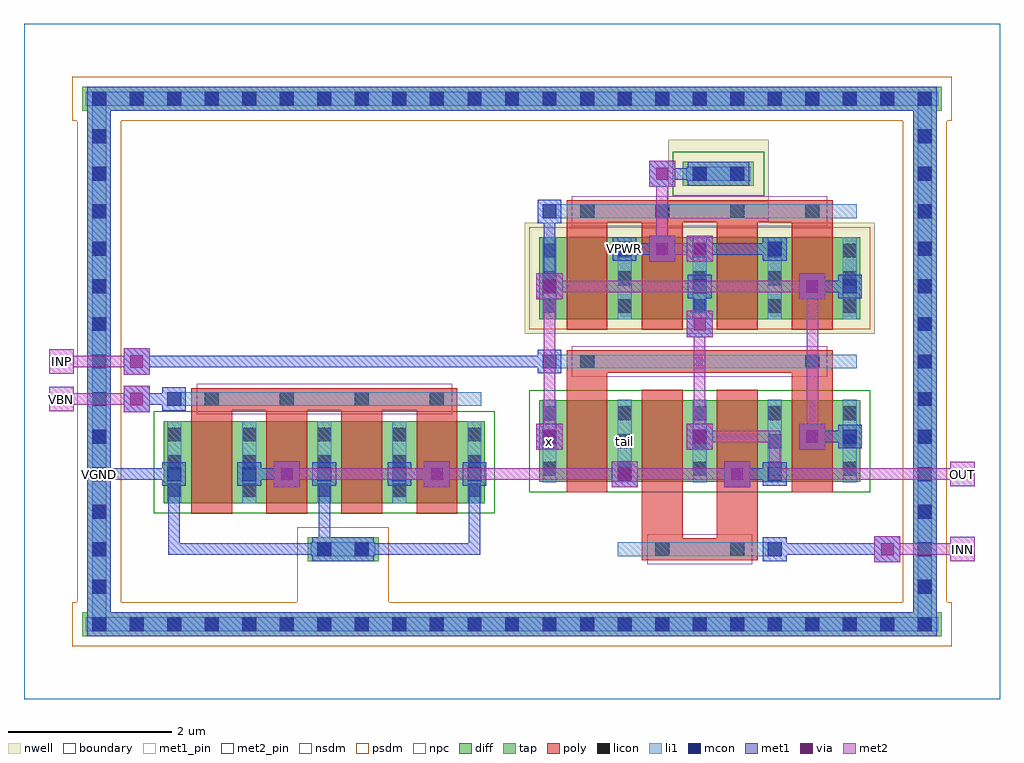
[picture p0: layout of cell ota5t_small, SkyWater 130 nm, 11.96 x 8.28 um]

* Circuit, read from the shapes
.subckt ota5t_small INN INP OUT VBN VGND VPWR tail x
XM1 tail VBN VGND VGND sky130_fd_pr__nfet_01v8 w=1 l=0.5 m=4
XM2 tail INP x VGND sky130_fd_pr__nfet_01v8 w=1 l=0.5 m=2
XM3 OUT INN tail VGND sky130_fd_pr__nfet_01v8 w=1 l=0.5 m=2
XM4 VPWR x x VPWR sky130_fd_pr__pfet_01v8 w=1 l=0.5 m=2
XM5 OUT x VPWR VPWR sky130_fd_pr__pfet_01v8 w=1 l=0.5 m=2
.ends

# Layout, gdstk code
import gdstk
lib = gdstk.Library(unit=1e-6, precision=1e-09)
def R(c, l, rs):  # rectangles x0, y0, x1, y1
    for r in rs: c.add(gdstk.rectangle(r[:2], r[2:], *l))
def A(c, l, x, y, w, h, nx, ny, dx, dy):  # array of equal rectangles
    R(c, l, [(x+i*dx, y+j*dy, x+i*dx+w, y+j*dy+h) for i in range(nx) for j in range(ny)])
nwell = (64, 20)
diff = (65, 20)
tap = (65, 44)
poly = (66, 20)
licon = (66, 44)
li1 = (67, 20)
mcon = (67, 44)
met1_pin = (68, 16)
met1 = (68, 20)
via = (68, 44)
met2_pin = (69, 16)
met2 = (69, 20)
nsdm = (93, 44)
psdm = (94, 20)
npc = (95, 20)
boundary = (235, 4)

ota5t_small = lib.new_cell('ota5t_small')
R(ota5t_small, nwell, [(6.135,4.48,10.425,5.84), (7.895,5.84,9.125,6.86)])
R(ota5t_small, diff, [(1.715,2.405,5.645,3.405), (6.315,2.665,10.245,3.665), (6.315,4.66,10.245,5.66)])
R(ota5t_small, tap, [(0.715,0.775,11.245,1.065), (0.775,0.775,1.065,7.505), (10.895,0.775,11.185,7.505), (3.475,1.695,4.345,1.985), (8.075,6.295,8.945,6.585), (0.715,7.215,11.245,7.505)])
A(ota5t_small, poly, 2.05, 2.275, 0.5, 1.405, 4, 1, 0.92, 0)
A(ota5t_small, poly, 6.65, 4.53, 0.5, 1.45, 4, 1, 0.92, 0)
R(ota5t_small, poly, [(7.57,1.705,8.99,1.975), (7.57,1.84,8.07,3.795), (8.49,1.84,8.99,3.795), (6.65,2.535,7.15,4.14), (9.41,2.535,9.91,4.14), (2.05,3.545,5.31,3.815), (6.65,4.005,9.91,4.275), (6.65,5.845,9.91,6.115)])
A(ota5t_small, licon, 0.835, 0.835, 0.17, 0.17, 23, 2, 0.46, 6.44)
A(ota5t_small, licon, 0.835, 1.295, 0.17, 0.17, 1, 13, 0, 0.46)
A(ota5t_small, licon, 10.955, 1.295, 0.17, 0.17, 1, 13, 0, 0.46)
A(ota5t_small, licon, 1.755, 2.48, 0.17, 0.17, 5, 3, 0.92, 0.34)
A(ota5t_small, licon, 6.355, 2.74, 0.17, 0.17, 5, 3, 0.92, 0.34)
A(ota5t_small, licon, 2.215, 3.595, 0.17, 0.17, 4, 1, 0.92, 0)
A(ota5t_small, licon, 6.355, 4.735, 0.17, 0.17, 5, 3, 0.92, 0.34)
A(ota5t_small, licon, 6.815, 5.895, 0.17, 0.17, 4, 1, 0.92, 0)
R(ota5t_small, licon, [(3.595,1.755,3.765,1.925), (4.055,1.755,4.225,1.925), (7.735,1.755,7.905,1.925), (8.655,1.755,8.825,1.925), (6.815,4.055,6.985,4.225), (9.575,4.055,9.745,4.225), (8.195,6.355,8.365,6.525), (8.655,6.355,8.825,6.525)])
A(ota5t_small, li1, 1.755, 2.4, 0.17, 1.01, 5, 1, 0.92, 0)
A(ota5t_small, li1, 6.355, 2.66, 0.17, 1.01, 5, 2, 0.92, 1.995)
R(ota5t_small, li1, [(0.755,0.835,11.205,1.005), (0.835,0.835,1.005,7.445), (10.955,0.835,11.125,7.445), (3.515,1.755,4.305,1.925), (7.275,1.755,9.285,1.925), (1.755,3.595,5.605,3.765), (6.355,4.055,10.205,4.225), (6.355,5.895,10.205,6.065), (8.115,6.355,8.905,6.525), (0.755,7.275,11.205,7.445)])
A(ota5t_small, mcon, 0.835, 0.835, 0.17, 0.17, 23, 2, 0.46, 6.44)
A(ota5t_small, mcon, 0.835, 1.295, 0.17, 0.17, 1, 3, 0, 0.46)
A(ota5t_small, mcon, 10.955, 1.295, 0.17, 0.17, 1, 3, 0, 0.46)
A(ota5t_small, mcon, 0.835, 2.675, 0.17, 0.17, 6, 1, 0.92, 0)
A(ota5t_small, mcon, 7.275, 2.675, 0.17, 0.17, 3, 2, 1.84, 2.76)
A(ota5t_small, mcon, 0.835, 3.135, 0.17, 0.17, 1, 9, 0, 0.46)
A(ota5t_small, mcon, 6.355, 3.135, 0.17, 0.17, 3, 2, 1.84, 1.84)
A(ota5t_small, mcon, 10.955, 3.135, 0.17, 0.17, 1, 5, 0, 0.46)
A(ota5t_small, mcon, 10.955, 5.895, 0.17, 0.17, 1, 3, 0, 0.46)
R(ota5t_small, mcon, [(3.595,1.755,3.765,1.925), (4.055,1.755,4.225,1.925), (9.115,1.755,9.285,1.925), (1.755,3.595,1.925,3.765), (6.355,4.055,6.525,4.225), (6.355,5.895,6.525,6.065), (8.195,6.355,8.365,6.525), (8.655,6.355,8.825,6.525)])
R(ota5t_small, met1_pin, [(0.85,2.69,0.99,2.83), (7.215,5.375,7.505,5.665)])
A(ota5t_small, met1, 1.77, 1.77, 0.14, 1.06, 3, 1, 1.84, 0)
A(ota5t_small, met1, 1.695, 2.615, 0.29, 0.29, 5, 1, 0.92, 0)
A(ota5t_small, met1, 6.295, 3.075, 0.29, 0.29, 3, 2, 1.84, 1.84)
R(ota5t_small, met1, [(0.775,0.775,11.185,1.065), (0.775,0.775,1.065,7.505), (10.895,0.775,11.185,7.505), (10.42,1.68,10.74,2), (3.535,1.695,4.285,1.985), (9.055,1.695,9.345,1.985), (1.77,1.77,3.75,1.91), (3.61,1.77,3.75,1.91), (3.61,1.77,5.59,1.91), (9.13,1.77,10.65,1.91), (3.06,2.6,3.38,2.92), (4.9,2.6,5.22,2.92), (7.2,2.6,7.52,2.92), (8.58,2.6,8.9,2.92), (7.215,2.615,7.505,2.905), (9.055,2.615,9.345,2.905), (0.85,2.69,0.99,2.83), (0.85,2.69,1.91,2.83), (0.85,2.69,0.99,7.43), (2.69,2.69,3.29,2.83), (4.53,2.69,5.13,2.83), (8.67,2.69,9.27,2.83), (6.28,3.06,6.6,3.38), (8.12,3.06,8.44,3.38), (9.5,3.06,9.82,3.38), (9.59,3.15,10.19,3.29), (1.22,3.52,1.54,3.84), (1.695,3.535,1.985,3.825), (1.31,3.61,1.91,3.75), (1.22,3.98,1.54,4.3), (6.295,3.995,6.585,4.285), (1.31,4.07,6.51,4.21), (8.12,4.44,8.44,4.76), (8.21,4.53,8.35,5.13), (6.28,4.9,6.6,5.22), (9.5,4.9,9.82,5.22), (6.37,4.99,6.51,6.05), (9.59,4.99,10.19,5.13), (7.66,5.36,7.98,5.68), (8.12,5.36,8.44,5.68), (7.215,5.375,7.505,5.665), (9.055,5.375,9.345,5.665), (7.29,5.45,7.89,5.59), (8.21,5.45,9.27,5.59), (6.295,5.835,6.585,6.125), (7.66,6.28,7.98,6.6), (8.135,6.295,8.885,6.585), (7.75,6.37,8.35,6.51), (8.21,6.37,8.35,6.51), (0.775,7.215,11.185,7.505), (0.85,7.29,0.99,7.43)])
R(ota5t_small, via, [(10.505,1.765,10.655,1.915), (3.145,2.685,3.295,2.835), (4.985,2.685,5.135,2.835), (7.285,2.685,7.435,2.835), (8.665,2.685,8.815,2.835), (6.365,3.145,6.515,3.295), (8.205,3.145,8.355,3.295), (9.585,3.145,9.735,3.295), (1.305,3.605,1.455,3.755), (1.305,4.065,1.455,4.215), (8.205,4.525,8.355,4.675), (6.365,4.985,6.515,5.135), (9.585,4.985,9.735,5.135), (7.745,5.445,7.895,5.595), (8.205,5.445,8.355,5.595), (7.745,6.365,7.895,6.515)])
R(ota5t_small, met2_pin, [(11.35,1.69,11.65,1.99), (11.35,2.61,11.65,2.91), (0.31,3.53,0.61,3.83), (0.31,3.99,0.61,4.29)])
R(ota5t_small, met2, [(10.42,1.68,10.74,2), (11.35,1.69,11.65,1.99), (10.51,1.77,11.57,1.91), (11.43,1.77,11.57,1.91), (3.06,2.6,3.38,2.92), (4.9,2.6,5.22,2.92), (7.2,2.6,7.52,2.92), (8.58,2.6,8.9,2.92), (11.35,2.61,11.65,2.91), (3.15,2.69,5.13,2.83), (4.99,2.69,7.43,2.83), (7.29,2.69,8.81,2.83), (9.13,2.69,11.57,2.83), (9.13,2.69,9.27,3.29), (11.43,2.69,11.57,2.83), (6.28,3.06,6.6,3.38), (8.12,3.06,8.44,3.38), (9.5,3.06,9.82,3.38), (6.37,3.15,6.51,5.13), (8.21,3.15,8.35,4.67), (8.21,3.15,9.27,3.29), (9.59,3.15,9.73,5.13), (1.22,3.52,1.54,3.84), (0.31,3.53,0.61,3.83), (0.39,3.61,0.53,3.75), (0.39,3.61,1.45,3.75), (1.22,3.98,1.54,4.3), (0.31,3.99,0.61,4.29), (0.39,4.07,0.53,4.21), (0.39,4.07,1.45,4.21), (8.12,4.44,8.44,4.76), (6.28,4.9,6.6,5.22), (9.5,4.9,9.82,5.22), (6.37,4.99,9.73,5.13), (7.66,5.36,7.98,5.68), (8.12,5.36,8.44,5.68), (7.75,5.45,7.89,6.51), (7.75,5.45,8.35,5.59), (7.66,6.28,7.98,6.6)])
R(ota5t_small, nsdm, [(1.59,2.28,5.77,3.53), (6.19,2.54,10.37,3.79), (7.95,6.17,9.07,6.71)])
R(ota5t_small, psdm, [(0.59,0.65,11.37,1.19), (0.65,1.19,1.19,7.09), (3.35,1.19,4.47,2.11), (10.77,1.19,11.31,7.09), (6.19,4.535,10.37,5.785), (0.59,7.09,11.37,7.63)])
R(ota5t_small, npc, [(7.635,1.655,8.925,2.025), (2.115,3.495,5.245,3.865), (6.715,3.955,9.845,4.325), (6.715,5.795,9.845,6.165)])
R(ota5t_small, boundary, [(0,0,11.96,8.28)])
ota5t_small.add(gdstk.Label('x', (6.44,3.165), layer=67, texttype=5))
ota5t_small.add(gdstk.Label('tail', (7.36,3.165), layer=67, texttype=5))
ota5t_small.add(gdstk.Label('VPWR', (7.36,5.52), layer=68, texttype=5))
ota5t_small.add(gdstk.Label('VGND', (0.92,2.76), layer=68, texttype=5))
ota5t_small.add(gdstk.Label('INP', (0.46,4.14), layer=69, texttype=5))
ota5t_small.add(gdstk.Label('INN', (11.5,1.84), layer=69, texttype=5))
ota5t_small.add(gdstk.Label('VBN', (0.46,3.68), layer=69, texttype=5))
ota5t_small.add(gdstk.Label('OUT', (11.5,2.76), layer=69, texttype=5))
ota5t_small.add(gdstk.Label('VPWR', (7.36,5.52), layer=68, texttype=16))
ota5t_small.add(gdstk.Label('VGND', (0.92,2.76), layer=68, texttype=16))
ota5t_small.add(gdstk.Label('INP', (0.46,4.14), layer=69, texttype=16))
ota5t_small.add(gdstk.Label('INN', (11.5,1.84), layer=69, texttype=16))
ota5t_small.add(gdstk.Label('VBN', (0.46,3.68), layer=69, texttype=16))
ota5t_small.add(gdstk.Label('OUT', (11.5,2.76), layer=69, texttype=16))

lib.write_gds('ota5t_small.gds')
